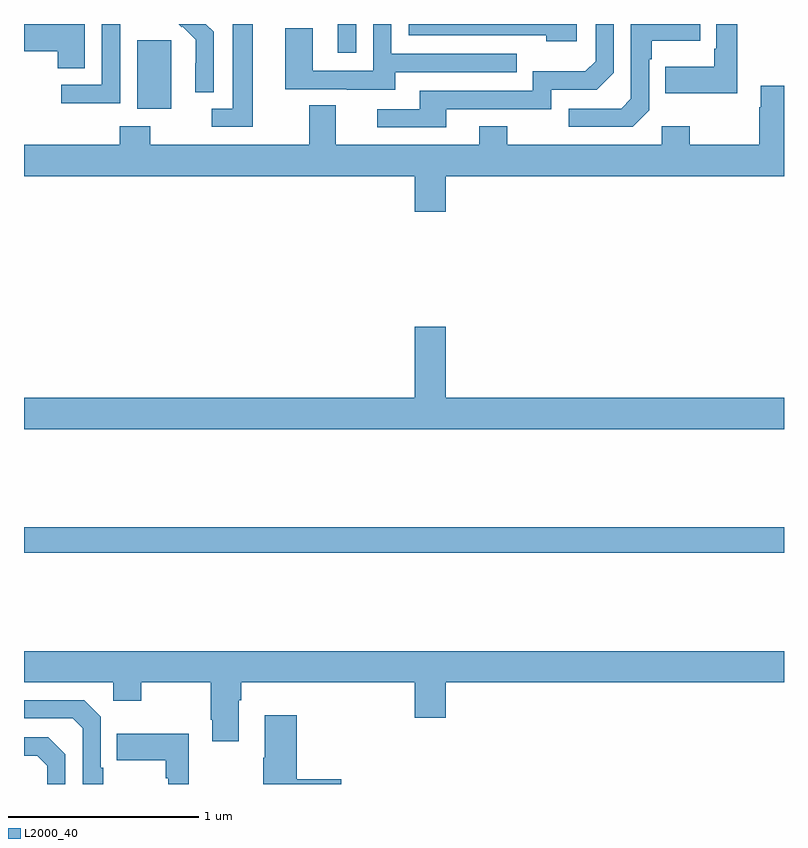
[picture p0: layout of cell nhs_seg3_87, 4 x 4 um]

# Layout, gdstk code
import gdstk
lib = gdstk.Library(unit=1e-6, precision=1e-09)
def R(c, l, rs):  # rectangles x0, y0, x1, y1
    for r in rs: c.add(gdstk.rectangle(r[:2], r[2:], *l))
def P(c, l, *ps):  # polygons
    for p in ps: c.add(gdstk.Polygon(p, *l))
L2000_40 = (2000, 40)

nhs_seg3_87 = lib.new_cell('nhs_seg3_87')
R(nhs_seg3_87, L2000_40, [(115,681.616,119,681.752), (115.595,683.954,115.774,684.315), (116.651,684.249,116.748,684.4)])
P(nhs_seg3_87, L2000_40, [(117.223,683.952),(117.774,683.952),(117.774,684.054),(118.014,684.054),(118.104,684.144),(118.104,684.4),(118.008,684.4),(118.008,684.204),(117.955,684.151),(117.678,684.151),(117.678,684.048),(117.083,684.048),(117.083,683.952),(116.859,683.952),(116.859,683.856),(117.223,683.856)],
  [(116.203,684.4),(116.099,684.4),(116.099,683.955),(115.989,683.955),(115.989,683.859),(116.203,683.859)],
  [(115.321,684.4),(115,684.4),(115,684.257),(115.178,684.257),(115.178,684.166),(115.321,684.166)],
  [(118.29,683.946),(118.29,684.215),(118.303,684.215),(118.303,684.311),(118.559,684.311),(118.559,684.4),(118.194,684.4),(118.194,684.006),(118.143,683.955),(117.867,683.955),(117.867,683.859),(118.203,683.859)],
  [(117.91,684.4),(117.024,684.4),(117.024,684.342),(117.749,684.342),(117.749,684.308),(117.91,684.308)],
  [(118.753,684.4),(118.644,684.4),(118.644,684.271),(118.632,684.271),(118.632,684.175),(118.375,684.175),(118.375,684.035),(118.753,684.035)],
  [(116.953,684.147),(117.593,684.147),(117.593,684.243),(116.934,684.243),(116.934,684.4),(116.838,684.4),(116.838,684.153),(116.52,684.153),(116.52,684.377),(116.375,684.377),(116.375,684.057),(116.699,684.057),(116.699,684.053),(116.953,684.053)],
  [(115.506,684.4),(115.41,684.4),(115.41,684.081),(115.197,684.081),(115.197,683.983),(115.506,683.983)],
  [(115.998,684.358),(115.956,684.4),(115.814,684.4),(115.83,684.384),(115.833,684.387),(115.904,684.317),(115.904,684.194),(115.902,684.194),(115.902,684.04),(115.998,684.04)],
  [(117.22,683.6),(119,683.6),(119,684.076),(118.877,684.076),(118.877,683.963),(118.87,683.963),(118.87,683.764),(118.503,683.764),(118.503,683.863),(118.356,683.863),(118.356,683.764),(117.543,683.764),(117.543,683.863),(117.395,683.863),(117.395,683.764),(116.641,683.764),(116.641,683.972),(116.501,683.972),(116.501,683.764),(115.665,683.764),(115.665,683.863),(115.505,683.863),(115.505,683.764),(115,683.764),(115,683.6),(117.056,683.6),(117.056,683.412),(117.22,683.412)],
  [(119,682.432),(117.22,682.432),(117.22,682.807),(117.056,682.807),(117.056,682.432),(115,682.432),(115,682.268),(119,682.268)],
  [(116.131,680.84),(116.144,680.84),(116.144,680.936),(117.056,680.936),(117.056,680.748),(117.22,680.748),(117.22,680.936),(119,680.936),(119,681.1),(115,681.1),(115,680.936),(115.47,680.936),(115.47,680.837),(115.617,680.837),(115.617,680.936),(115.984,680.936),(115.984,680.737),(115.991,680.737),(115.991,680.625),(116.131,680.625)],
  [(115.417,680.485),(115.404,680.485),(115.404,680.754),(115.317,680.841),(115,680.841),(115,680.745),(115.257,680.745),(115.308,680.694),(115.308,680.4),(115.417,680.4)],
  [(116.671,680.426),(116.435,680.426),(116.435,680.761),(116.267,680.761),(116.267,680.537),(116.26,680.537),(116.26,680.4),(116.671,680.4)],
  [(115.867,680.665),(115.489,680.665),(115.489,680.525),(115.746,680.525),(115.746,680.429),(115.758,680.429),(115.758,680.4),(115.867,680.4)],
  [(115.218,680.556),(115.128,680.646),(115,680.646),(115,680.549),(115.069,680.549),(115.122,680.496),(115.122,680.4),(115.218,680.4)])

lib.write_gds('nhs_seg3_87.gds')
